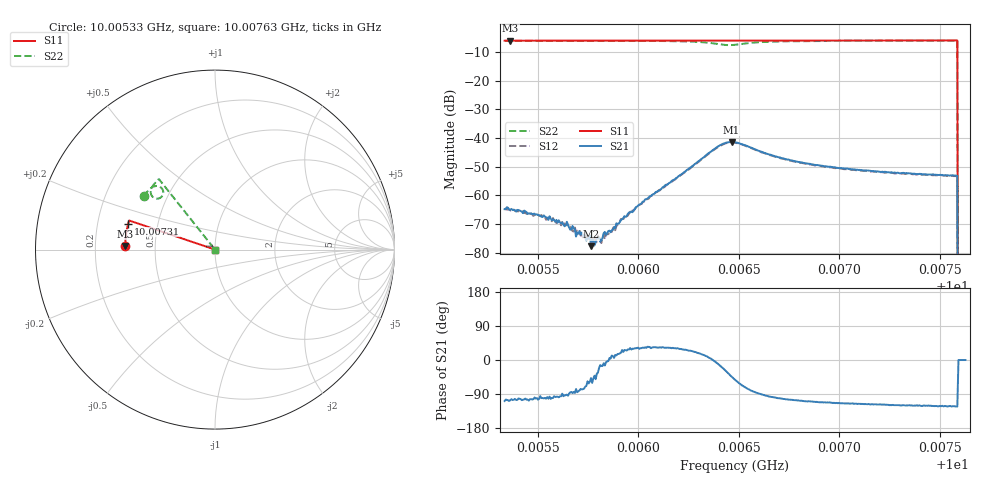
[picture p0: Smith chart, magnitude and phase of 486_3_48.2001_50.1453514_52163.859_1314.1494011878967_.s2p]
#  HZ  S  RI  R  50.00
! Rohde & Schwarz Vector Network Analyzer
! Rohde-Schwarz,ZNB20-2Port,1311601062101988,3.16
! Created: UTC 3/20/2024, 11:57:52 AM
! freq[Hz]  re:S11  im:S11  re:S21  im:S21  re:S12  im:S12  re:S22  im:S22
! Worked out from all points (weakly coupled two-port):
!   401 points, 10.00533 GHz to 10.00763 GHz, reference 50 ohm
!   highest |S21| = -41.39 dB at 10.00646 GHz (marker M1); lowest = -77.8 dB at 10.00576 GHz (marker M2)
!   lowest |S11| = -6.0 dB at 10.00536 GHz (marker M3), VSWR 3.01, Z = 16.6 + j0.909 ohm
!   |S11| at or under -10 dB: 10.00759 GHz to end of sweep
!   |S22| runs from - to -6.0 dB; largest |S21 - S12| = 0.00051
!   S11 on the Smith chart (normalised r, x): 10.00533 GHz: 0.33, +0.02; 10.00731 GHz: 0.34, +0.13; 10.00763 GHz: 1.00, +0.00
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1.0005334e10  -0.5005 0.0187  -0.000178 -0.000543  -9.41e-05 -0.000588  -0.3972 0.2968
1.0005362e10  -0.5003 0.0205  -0.000153 -0.000539  -0.000102 -0.000534  -0.396 0.2985
1.0005597e10  -0.5 0.0358  -4.01e-05 -0.000329  -6.12e-06 -0.000356  -0.386 0.3123
1.0005672e10  -0.4998 0.0407  1.44e-05 -0.00029  4.91e-05 -0.000231  -0.3823 0.3169
1.0005701e10  -0.4997 0.0425  2.68e-05 -0.000211  4.94e-05 -0.000231  -0.3808 0.3188
1.0005718e10  -0.4997 0.0437  4.81e-05 -0.000217  6.44e-05 -0.000224  -0.38 0.3198
1.0005764e10  -0.4995 0.0467  8.66e-05 -9.56e-05  0.000105 -0.000136  -0.3778 0.3227
1.0005775e10  -0.4995 0.0475  0.000111 -0.000127  0.000151 -0.000123  -0.377 0.3234
1.0005821e10  -0.4992 0.0504  0.000172 -4.82e-05  0.000172 -6.54e-05  -0.3745 0.3262
1.0005873e10  -0.499 0.0538  0.000246 4.27e-05  0.000259 5.41e-05  -0.3714 0.3297
1.0005913e10  -0.4986 0.0564  0.00035 0.000123  0.000353 0.000155  -0.369 0.3322
1.0006102e10  -0.4976 0.0684  0.00101 0.00065  0.00101 0.00071  -0.3534 0.3452
1.0006389e10  -0.4946 0.087  0.00679 -0.000865  0.00666 -0.000491  -0.2906 0.3317
1.0006463e10  -0.4939 0.0913  0.00614 -0.00591  0.00634 -0.00543  -0.3042 0.289
1.000648e10  -0.4938 0.0922  0.00517 -0.00666  0.00541 -0.00625  -0.3147 0.2847
1.0006687e10  -0.4923 0.1055  -0.000806 -0.00467  -0.000537 -0.00462  -0.3578 0.3267
1.0006865e10  -0.49 0.1167  -0.00116 -0.00325  -0.00102 -0.00323  -0.3504 0.3489
1.0007249e10  -0.4847 0.1409  -0.00122 -0.00219  -0.00107 -0.00222  -0.3301 0.3755
1.0007306e10  -0.4836 0.1447  -0.00121 -0.0021  -0.00106 -0.00214  -0.3272 0.3789
1.0007576e10  -0.4789 0.1613  -0.00119 -0.00186  -0.00107 -0.00189  -0.3132 0.3924
1.0007604e10  0 0  0 0  0 0  0 0
1.0007627e10  0 0  0 0  0 0  0 0
